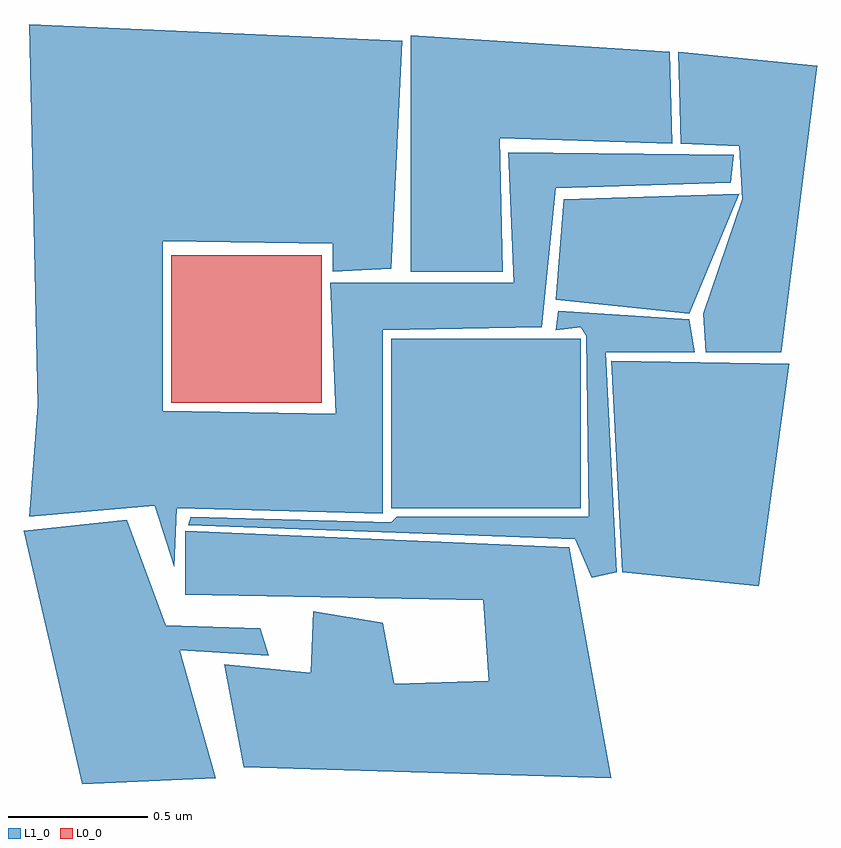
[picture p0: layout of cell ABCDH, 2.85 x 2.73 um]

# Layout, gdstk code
import gdstk
lib = gdstk.Library(unit=1e-6, precision=1e-09)
def R(c, l, rs):  # rectangles x0, y0, x1, y1
    for r in rs: c.add(gdstk.rectangle(r[:2], r[2:], *l))
def P(c, l, *ps):  # polygons
    for p in ps: c.add(gdstk.Polygon(p, *l))
L0_0 = (0, 0)
L1_0 = (1, 0)

abcdh = lib.new_cell('ABCDH')
R(abcdh, L0_0, [(0.11,1.27,0.65,1.8)])
R(abcdh, L1_0, [(0.9,0.89,1.58,1.5)])
P(abcdh, L1_0, [(1.52,2),(1.49,1.64),(1.97,1.59),(2.15,2.02)],
  [(-0.37,1.26),(-0.4,0.86),(0.05,0.9),(0.12,0.68),(0.13,0.89),(0.87,0.87),(0.87,1.53),(1.44,1.54),(1.49,2.04),(2.12,2.06),(2.13,2.16),(1.32,2.17),(1.34,1.7),(0.68,1.7),(0.7,1.23),(0.08,1.24),(0.08,1.85),(0.69,1.84),(0.69,1.74),(0.9,1.75),(0.94,2.57),(-0.4,2.63)],
  [(1.69,1.42),(1.73,0.66),(2.22,0.61),(2.33,1.41)],
  [(-0.05,0.85),(0.09,0.47),(0.43,0.46),(0.46,0.36),(0.14,0.38),(0.27,-0.08),(-0.21,-0.1),(-0.42,0.81)],
  [(0.18,0.86),(0.9,0.84),(0.92,0.86),(1.61,0.86),(1.6,1.51),(1.58,1.54),(1.49,1.53),(1.5,1.6),(1.97,1.57),(1.99,1.45),(1.67,1.45),(1.71,0.66),(1.62,0.64),(1.56,0.78),(0.17,0.83)],
  [(1.54,0.75),(1.69,-0.08),(0.37,-0.04),(0.3,0.33),(0.61,0.3),(0.62,0.52),(0.87,0.48),(0.91,0.26),(1.25,0.27),(1.23,0.56),(0.16,0.58),(0.16,0.81)],
  [(0.97,1.74),(1.3,1.74),(1.29,2.22),(1.91,2.2),(1.9,2.53),(0.97,2.59)],
  [(2.16,2),(2.02,1.59),(2.03,1.45),(2.3,1.45),(2.43,2.48),(1.93,2.53),(1.94,2.2),(2.15,2.19)])

lib.write_gds('ABCDH.gds')
